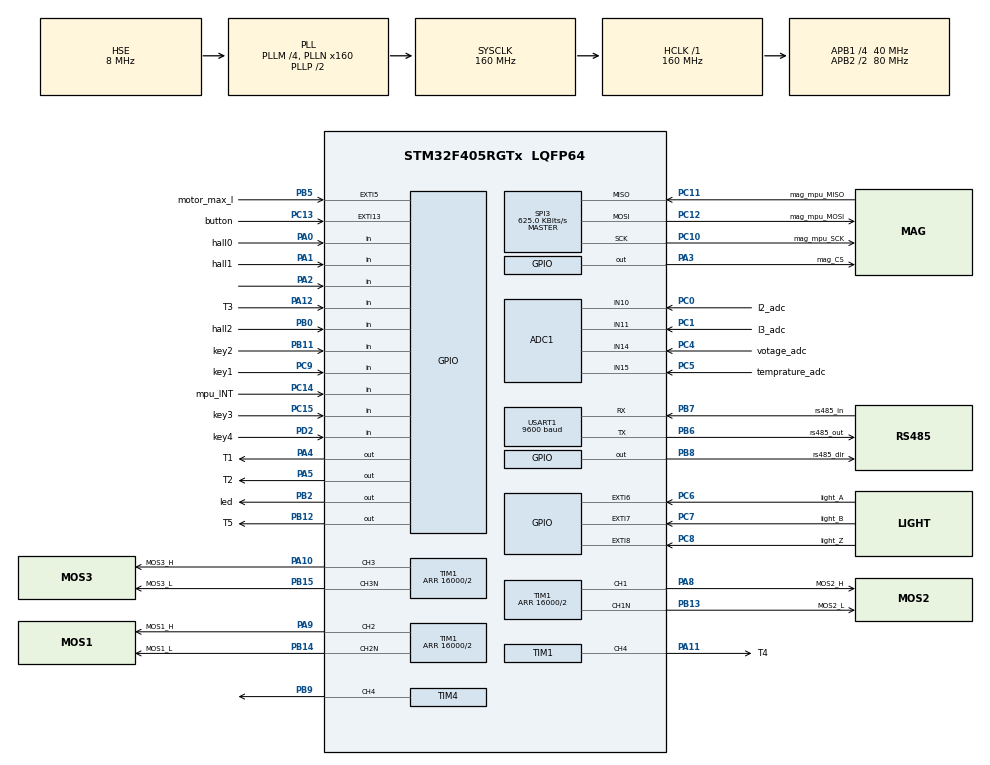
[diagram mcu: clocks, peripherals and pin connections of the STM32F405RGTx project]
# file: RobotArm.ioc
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ADC1.Channel-0\#ChannelRegularConversion=ADC_CHANNEL_14
ADC1.Channel-1\#ChannelRegularConversion=ADC_CHANNEL_15
ADC1.Channel-7\#ChannelInjectedConversion=ADC_CHANNEL_10
ADC1.Channel-8\#ChannelInjectedConversion=ADC_CHANNEL_11
ADC1.ClockPrescaler=ADC_CLOCK_SYNC_PCLK_DIV6
ADC1.ContinuousConvMode=ENABLE
ADC1.DMAContinuousRequests=ENABLE
ADC1.EOCSelection=ADC_EOC_SINGLE_CONV
ADC1.ExternalTrigConv=ADC_SOFTWARE_START
ADC1.ExternalTrigInjecConv=ADC_EXTERNALTRIGINJECCONV_T1_CC4
ADC1.ExternalTrigInjecConvEdge=ADC_EXTERNALTRIGINJECCONVEDGE_RISINGFALLING
ADC1.InjNumberOfConversion=2
ADC1.InjectedConvMode=Discontinuous
ADC1.InjectedOffset-7\#ChannelInjectedConversion=0
ADC1.InjectedOffset-8\#ChannelInjectedConversion=0
ADC1.InjectedRank-7\#ChannelInjectedConversion=1
ADC1.InjectedRank-8\#ChannelInjectedConversion=2
ADC1.NbrOfConversion=2
ADC1.NbrOfConversionFlag=1
ADC1.Rank-0\#ChannelRegularConversion=1
ADC1.Rank-1\#ChannelRegularConversion=2
ADC1.SamplingTime-0\#ChannelRegularConversion=ADC_SAMPLETIME_3CYCLES
ADC1.SamplingTime-1\#ChannelRegularConversion=ADC_SAMPLETIME_3CYCLES
ADC1.SamplingTime-7\#ChannelInjectedConversion=ADC_SAMPLETIME_15CYCLES
ADC1.SamplingTime-8\#ChannelInjectedConversion=ADC_SAMPLETIME_15CYCLES
ADC1.master=1
Dma.ADC1.2.Direction=DMA_PERIPH_TO_MEMORY
Dma.ADC1.2.FIFOMode=DMA_FIFOMODE_DISABLE
Dma.ADC1.2.Instance=DMA2_Stream0
Dma.ADC1.2.MemDataAlignment=DMA_MDATAALIGN_HALFWORD
Dma.ADC1.2.MemInc=DMA_MINC_ENABLE
Dma.ADC1.2.Mode=DMA_NORMAL
Dma.ADC1.2.PeriphDataAlignment=DMA_PDATAALIGN_HALFWORD
Dma.ADC1.2.PeriphInc=DMA_PINC_DISABLE
Dma.ADC1.2.Priority=DMA_PRIORITY_LOW
Dma.Request0=USART1_RX
Dma.Request1=USART1_TX
Dma.Request2=ADC1
Dma.USART1_RX.0.Direction=DMA_PERIPH_TO_MEMORY
Dma.USART1_RX.0.FIFOMode=DMA_FIFOMODE_ENABLE
Dma.USART1_RX.0.FIFOThreshold=DMA_FIFO_THRESHOLD_FULL
Dma.USART1_RX.0.Instance=DMA2_Stream2
Dma.USART1_RX.0.MemBurst=DMA_MBURST_SINGLE
Dma.USART1_RX.0.MemDataAlignment=DMA_MDATAALIGN_BYTE
Dma.USART1_RX.0.MemInc=DMA_MINC_ENABLE
Dma.USART1_RX.0.Mode=DMA_CIRCULAR
Dma.USART1_RX.0.PeriphBurst=DMA_PBURST_SINGLE
Dma.USART1_RX.0.PeriphDataAlignment=DMA_PDATAALIGN_BYTE
Dma.USART1_RX.0.PeriphInc=DMA_PINC_DISABLE
Dma.USART1_RX.0.Priority=DMA_PRIORITY_MEDIUM
Dma.USART1_TX.1.Direction=DMA_MEMORY_TO_PERIPH
Dma.USART1_TX.1.FIFOMode=DMA_FIFOMODE_DISABLE
Dma.USART1_TX.1.Instance=DMA2_Stream7
Dma.USART1_TX.1.MemDataAlignment=DMA_MDATAALIGN_BYTE
Dma.USART1_TX.1.MemInc=DMA_MINC_ENABLE
Dma.USART1_TX.1.Mode=DMA_NORMAL
Dma.USART1_TX.1.PeriphDataAlignment=DMA_PDATAALIGN_BYTE
Dma.USART1_TX.1.PeriphInc=DMA_PINC_DISABLE
Dma.USART1_TX.1.Priority=DMA_PRIORITY_LOW
Mcu.Family=STM32F4
Mcu.Name=STM32F405RGTx
Mcu.Package=LQFP64
NVIC.ADC_IRQn=true\:0\:0\:false\:false\:true\:true\:true\:true
NVIC.DMA2_Stream0_IRQn=true\:0\:0\:false\:false\:true\:false\:true\:true
NVIC.DMA2_Stream2_IRQn=true\:0\:0\:true\:false\:true\:false\:true\:true
NVIC.DMA2_Stream7_IRQn=true\:0\:0\:false\:false\:true\:false\:true\:true
NVIC.EXTI9_5_IRQn=true\:0\:0\:true\:false\:true\:true\:true\:true
NVIC.PriorityGroup=NVIC_PRIORITYGROUP_4
NVIC.USART1_IRQn=true\:15\:0\:true\:false\:true\:true\:true\:true
PA0-WKUP.GPIO_Label=hall0
PA0-WKUP.Signal=GPIO_Input
PA1.GPIO_Label=hall1
PA1.Signal=GPIO_Input
PA10.GPIO_Label=MOS3_H
PA10.GPIO_Speed=GPIO_SPEED_FREQ_HIGH
PA10.Signal=S_TIM1_CH3
PA11.GPIO_Label=T4
PA11.Signal=S_TIM1_CH4
PA12.GPIO_Label=T3
PA12.Signal=GPIO_Input
PA13.Mode=Serial_Wire
PA13.Signal=SYS_JTMS-SWDIO
PA14.Mode=Serial_Wire
PA14.Signal=SYS_JTCK-SWCLK
PA2.GPIO_Label=can_??????????
PA2.Signal=GPIO_Input
PA3.GPIO_Label=mag_CS
PA3.GPIO_Speed=GPIO_SPEED_FREQ_LOW
PA3.PinState=GPIO_PIN_RESET
PA3.Signal=GPIO_Output
PA4.GPIO_Label=T1
PA4.Signal=GPIO_Output
PA5.GPIO_Label=T2
PA5.Signal=GPIO_Output
PA8.GPIO_Label=MOS2_H
PA8.GPIO_Speed=GPIO_SPEED_FREQ_HIGH
PA8.Signal=S_TIM1_CH1
PA9.GPIO_Label=MOS1_H
PA9.GPIO_Speed=GPIO_SPEED_FREQ_HIGH
PA9.Signal=S_TIM1_CH2
PB0.GPIO_Label=hall2
PB0.Signal=GPIO_Input
PB11.GPIO_Label=key2
PB11.Signal=GPIO_Input
PB12.GPIO_Label=T5
PB12.Signal=GPIO_Output
PB13.GPIO_Label=MOS2_L
PB13.GPIO_Speed=GPIO_SPEED_FREQ_HIGH
PB13.Mode=PWM Generation1 CH1 CH1N
PB13.Signal=TIM1_CH1N
PB14.GPIO_Label=MOS1_L
PB14.GPIO_Speed=GPIO_SPEED_FREQ_HIGH
PB14.Mode=PWM Generation2 CH2 CH2N
PB14.Signal=TIM1_CH2N
PB15.GPIO_Label=MOS3_L
PB15.GPIO_Speed=GPIO_SPEED_FREQ_HIGH
PB15.Mode=PWM Generation3 CH3 CH3N
PB15.Signal=TIM1_CH3N
PB2.GPIO_Label=led
PB2.Signal=GPIO_Output
PB5.GPIO_Label=motor_max_I
PB5.Signal=GPXTI5
PB6.GPIO_Label=rs485_out
PB6.Mode=Asynchronous
PB6.Signal=USART1_TX
PB7.GPIO_Label=rs485_in
PB7.Mode=Asynchronous
PB7.Signal=USART1_RX
PB8.GPIO_Label=rs485_dir
PB8.Signal=GPIO_Output
PB9.Signal=S_TIM4_CH4
PC0.GPIO_Label=I2_adc
PC0.Signal=ADCx_IN10
PC1.GPIO_Label=I3_adc
PC1.Signal=ADCx_IN11
PC10.GPIO_Label=mag_mpu_SCK
PC10.Mode=Full_Duplex_Master
PC10.Signal=SPI3_SCK
PC11.GPIO_Label=mag_mpu_MISO
PC11.Mode=Full_Duplex_Master
PC11.Signal=SPI3_MISO
PC12.GPIO_Label=mag_mpu_MOSI
PC12.Mode=Full_Duplex_Master
PC12.Signal=SPI3_MOSI
PC13-ANTI_TAMP.GPIO_Label=button
PC13-ANTI_TAMP.GPIO_ModeDefaultEXTI=GPIO_MODE_IT_FALLING
PC13-ANTI_TAMP.Signal=GPXTI13
PC14-OSC32_IN.GPIO_Label=mpu_INT
PC14-OSC32_IN.Signal=GPIO_Input
PC15-OSC32_OUT.GPIO_Label=key3
PC15-OSC32_OUT.Signal=GPIO_Input
PC4.GPIO_Label=votage_adc
PC4.Signal=ADCx_IN14
PC5.GPIO_Label=temprature_adc
PC5.Signal=ADCx_IN15
PC6.GPIO_Label=light_A
PC6.GPIO_ModeDefaultEXTI=GPIO_MODE_IT_RISING
PC6.Signal=GPXTI6
PC7.GPIO_Label=light_B
PC7.GPIO_ModeDefaultEXTI=GPIO_MODE_IT_RISING
PC7.Signal=GPXTI7
PC8.GPIO_Label=light_Z
PC8.GPIO_ModeDefaultEXTI=GPIO_MODE_IT_RISING
PC8.Signal=GPXTI8
PC9.GPIO_Label=key1
PC9.Signal=GPIO_Input
PD2.GPIO_Label=key4
PD2.Signal=GPIO_Input
PH0-OSC_IN.Mode=HSE-External-Oscillator
PH0-OSC_IN.Signal=RCC_OSC_IN
PH1-OSC_OUT.Mode=HSE-External-Oscillator
PH1-OSC_OUT.Signal=RCC_OSC_OUT
ProjectManager.HeapSize=0x200
ProjectManager.StackSize=0x400
ProjectManager.TargetToolchain=MDK-ARM V5.32
RCC.48MHZClocksFreq_Value=80000000
RCC.AHBFreq_Value=160000000
RCC.APB1CLKDivider=RCC_HCLK_DIV4
RCC.APB1Freq_Value=40000000
RCC.APB1TimFreq_Value=80000000
RCC.APB2CLKDivider=RCC_HCLK_DIV2
RCC.APB2Freq_Value=80000000
RCC.APB2TimFreq_Value=160000000
RCC.CortexFreq_Value=160000000
RCC.HCLKFreq_Value=160000000
RCC.HSE_VALUE=8000000
RCC.HSI_VALUE=16000000
RCC.LSE_VALUE=32768
RCC.PLLM=4
RCC.PLLN=160
RCC.PLLSourceVirtual=RCC_PLLSOURCE_HSE
RCC.SYSCLKFreq_VALUE=160000000
RCC.SYSCLKSource=RCC_SYSCLKSOURCE_PLLCLK
RCC.VCOOutputFreq_Value=320000000
SH.ADCx_IN10.0=ADC1_IN10,IN10
SH.ADCx_IN11.0=ADC1_IN11,IN11
SH.ADCx_IN14.0=ADC1_IN14,IN14
SH.ADCx_IN15.0=ADC1_IN15,IN15
SH.S_TIM1_CH1.0=TIM1_CH1,PWM Generation1 CH1 CH1N
SH.S_TIM1_CH2.0=TIM1_CH2,PWM Generation2 CH2 CH2N
SH.S_TIM1_CH3.0=TIM1_CH3,PWM Generation3 CH3 CH3N
SH.S_TIM1_CH4.0=TIM1_CH4,PWM Generation4 CH4
SH.S_TIM4_CH4.0=TIM4_CH4,PWM Generation4 CH4
SPI3.BaudRatePrescaler=SPI_BAUDRATEPRESCALER_64
SPI3.CLKPhase=SPI_PHASE_2EDGE
SPI3.CLKPolarity=SPI_POLARITY_HIGH
SPI3.CalculateBaudRate=625.0 KBits/s
SPI3.Direction=SPI_DIRECTION_2LINES
SPI3.FirstBit=SPI_FIRSTBIT_MSB
SPI3.Mode=SPI_MODE_MASTER
SPI3.VirtualType=VM_MASTER
TIM1.AutoReloadPreload=TIM_AUTORELOAD_PRELOAD_ENABLE
TIM1.BreakState=TIM_BREAK_DISABLE
TIM1.Channel-PWM\ Generation1\ CH1\ CH1N=TIM_CHANNEL_1
TIM1.Channel-PWM\ Generation2\ CH2\ CH2N=TIM_CHANNEL_2
TIM1.Channel-PWM\ Generation3\ CH3\ CH3N=TIM_CHANNEL_3
TIM1.Channel-PWM\ Generation4\ CH4=TIM_CHANNEL_4
TIM1.CounterMode=TIM_COUNTERMODE_CENTERALIGNED1
TIM1.DeadTime=50
TIM1.OCFastMode_PWM-PWM\ Generation1\ CH1\ CH1N=TIM_OCFAST_ENABLE
TIM1.OCFastMode_PWM-PWM\ Generation2\ CH2\ CH2N=TIM_OCFAST_ENABLE
TIM1.OCFastMode_PWM-PWM\ Generation3\ CH3\ CH3N=TIM_OCFAST_ENABLE
TIM1.OCFastMode_PWM-PWM\ Generation4\ CH4=TIM_OCFAST_ENABLE
TIM1.OCIdleState_1=TIM_OCIDLESTATE_SET
TIM1.OCIdleState_2=TIM_OCIDLESTATE_SET
TIM1.OCIdleState_3=TIM_OCIDLESTATE_SET
TIM1.OCMode_PWM-PWM\ Generation1\ CH1\ CH1N=TIM_OCMODE_PWM2
TIM1.OCMode_PWM-PWM\ Generation2\ CH2\ CH2N=TIM_OCMODE_PWM2
TIM1.OCMode_PWM-PWM\ Generation3\ CH3\ CH3N=TIM_OCMODE_PWM2
TIM1.OCMode_PWM-PWM\ Generation4\ CH4=TIM_OCMODE_PWM2
TIM1.OCNIdleState_1=TIM_OCNIDLESTATE_SET
TIM1.OCNIdleState_2=TIM_OCNIDLESTATE_SET
TIM1.OCNIdleState_3=TIM_OCNIDLESTATE_SET
TIM1.OCNPolarity_1=TIM_OCNPOLARITY_HIGH
TIM1.OCNPolarity_2=TIM_OCNPOLARITY_HIGH
TIM1.OCNPolarity_3=TIM_OCNPOLARITY_HIGH
TIM1.Period=16000/2
TIM1.RepetitionCounter=0
TIM1.TIM_MasterOutputTrigger=TIM_TRGO_RESET
TIM1.TIM_MasterSlaveMode=TIM_MASTERSLAVEMODE_DISABLE
TIM4.AutoReloadPreload=TIM_AUTORELOAD_PRELOAD_ENABLE
TIM4.Channel-PWM\ Generation4\ CH4=TIM_CHANNEL_4
TIM4.Period=1024
TIM4.Prescaler=0
USART1.BaudRate=9600
USART1.OverSampling=UART_OVERSAMPLING_8
USART1.VirtualMode=VM_ASYNC
VP_TIM1_VS_ClockSourceINT.Mode=Internal
VP_TIM4_VS_ClockSourceINT.Mode=Internal
board=custom

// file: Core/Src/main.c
/* USER CODE BEGIN Header */
/**
  ******************************************************************************
  * @file           : main.c
  * @brief          : Main program body
  ******************************************************************************
  * @attention
  *
  * Copyright (c) 2024 STMicroelectronics.
  * All rights reserved.
  *
  * This software is licensed under terms that can be found in the LICENSE file
  * in the root directory of this software component.
  * If no LICENSE file comes with this software, it is provided AS-IS.
  *
  ******************************************************************************
  */
/* USER CODE END Header */
#include "main.h"

/* USER CODE BEGIN Includes */
#include "stdio.h"
#include "header.h"
#include <math.h>
#include "user.h"

/* USER CODE END Includes */

ADC_HandleTypeDef hadc1;
DMA_HandleTypeDef hdma_adc1;

SPI_HandleTypeDef hspi3;

TIM_HandleTypeDef htim1;
TIM_HandleTypeDef htim4;

UART_HandleTypeDef huart1;
DMA_HandleTypeDef hdma_usart1_rx;
DMA_HandleTypeDef hdma_usart1_tx;

void SystemClock_Config(void);
static void MX_GPIO_Init(void);
static void MX_DMA_Init(void);
static void MX_ADC1_Init(void);
static void MX_SPI3_Init(void);
static void MX_TIM1_Init(void);
static void MX_USART1_UART_Init(void);
static void MX_TIM4_Init(void);
/* USER CODE BEGIN PFP */

extern i32 light_tick, light_Z;
extern float setV;
extern float setP;

/* USER CODE END PFP */

/* USER CODE BEGIN 0 */
#define APP_ADDRESS 0x08020000

u16 adcDatas[2];
int loop_type = 0;

/* USER CODE END 0 */

int main(void)
{
  /* USER CODE BEGIN 1 */
  __set_PRIMASK(0);

  SCB->VTOR = APP_ADDRESS;
  /* USER CODE END 1 */

  /* MCU Configuration--------------------------------------------------------*/

  /* Reset of all peripherals, Initializes the Flash interface and the Systick. */
  HAL_Init();

  /* Configure the system clock */
  SystemClock_Config();

  /* USER CODE BEGIN SysInit */
  //HAL_SPI_MspInit(&hspi3);
  /* USER CODE END SysInit */

  /* Initialize all configured peripherals */
  MX_GPIO_Init();
  MX_DMA_Init();
  MX_ADC1_Init();
  MX_SPI3_Init();
  MX_TIM1_Init();
  MX_USART1_UART_Init();
  MX_TIM4_Init();
  /* USER CODE BEGIN 2 */

  User_Init();
  uprintf("Robot Arm 0 start...\n");

  InitControl();

  /* USER CODE END 2 */

  /* Infinite loop */
  /* USER CODE BEGIN WHILE */

  getID();

  printf("ID:%d\n", getID());

  u32 motorIndex = 0;
  u32 v1 = 0, v2=0,v3=0;
  u32 curArea  =0;

  loop_type = 0;
  HAL_Delay(1000);
  loop_type = 1;

  float avg_angle = 0;
  while (1)
  {
    float adcInputV = 0, adcMosTemperature = 0, adcI2 = 0, adcI3 = 0;

    adcInputV = adcDatas[0];
    adcMosTemperature = adcDatas[1];

    if(Serial_Available())
    {
      Serial_Receive();

      ProcessCommand();
      //usend((uint8_t *)&recvData, sizeof(recvData));
        //setP = Serial_ParseFloat();
        //uprintf("%d\t%d\t%.3f\t%.3f\t%.3f\n", recvData.id, recvData.type, recvData.I, recvData.V, recvData.P);
        //v2 = Serial_ParseFloat();
        //v3 = Serial_ParseFloat();
        //printf("%d\t%d\t%d\t\n",v1,v2,v3);
        //uprintf("%d\t\n",curArea);
    }

    //uprintf("%d\t%d\t%d\t%d\n",v1,v2,v3,curArea);
    //uprintf("%f\t%f\t%f\t%d\n",t0,t1,t2,curArea);

    HAL_Delay(50);

    /* USER CODE END WHILE */

  }
}

void SystemClock_Config(void)
{
  RCC_OscInitTypeDef RCC_OscInitStruct = {0};
  RCC_ClkInitTypeDef RCC_ClkInitStruct = {0};

  /** Configure the main internal regulator output voltage
  */
  __HAL_RCC_PWR_CLK_ENABLE();
  __HAL_PWR_VOLTAGESCALING_CONFIG(PWR_REGULATOR_VOLTAGE_SCALE1);

  /** Initializes the RCC Oscillators according to the specified parameters
  * in the RCC_OscInitTypeDef structure.
  */
  RCC_OscInitStruct.OscillatorType = RCC_OSCILLATORTYPE_HSE;
  RCC_OscInitStruct.HSEState = RCC_HSE_ON;
  RCC_OscInitStruct.PLL.PLLState = RCC_PLL_ON;
  RCC_OscInitStruct.PLL.PLLSource = RCC_PLLSOURCE_HSE;
  RCC_OscInitStruct.PLL.PLLM = 4;
  RCC_OscInitStruct.PLL.PLLN = 160;
  RCC_OscInitStruct.PLL.PLLP = RCC_PLLP_DIV2;
  RCC_OscInitStruct.PLL.PLLQ = 4;
  if (HAL_RCC_OscConfig(&RCC_OscInitStruct) != HAL_OK)
  {
    Error_Handler();
  }

  /** Initializes the CPU, AHB and APB buses clocks
  */
  RCC_ClkInitStruct.ClockType = RCC_CLOCKTYPE_HCLK|RCC_CLOCKTYPE_SYSCLK
                              |RCC_CLOCKTYPE_PCLK1|RCC_CLOCKTYPE_PCLK2;
  RCC_ClkInitStruct.SYSCLKSource = RCC_SYSCLKSOURCE_PLLCLK;
  RCC_ClkInitStruct.AHBCLKDivider = RCC_SYSCLK_DIV1;
  RCC_ClkInitStruct.APB1CLKDivider = RCC_HCLK_DIV4;
  RCC_ClkInitStruct.APB2CLKDivider = RCC_HCLK_DIV2;

  if (HAL_RCC_ClockConfig(&RCC_ClkInitStruct, FLASH_LATENCY_5) != HAL_OK)
  {
    Error_Handler();
  }
}

static void MX_ADC1_Init(void)
{

  ADC_ChannelConfTypeDef sConfig = {0};
  ADC_InjectionConfTypeDef sConfigInjected = {0};

  /** Configure the global features of the ADC (Clock, Resolution, Data Alignment and number of conversion)
  */
  hadc1.Instance = ADC1;
  hadc1.Init.ClockPrescaler = ADC_CLOCK_SYNC_PCLK_DIV6;
  hadc1.Init.Resolution = ADC_RESOLUTION_12B;
  hadc1.Init.ScanConvMode = ENABLE;
  hadc1.Init.ContinuousConvMode = ENABLE;
  hadc1.Init.DiscontinuousConvMode = DISABLE;
  hadc1.Init.ExternalTrigConvEdge = ADC_EXTERNALTRIGCONVEDGE_NONE;
  hadc1.Init.ExternalTrigConv = ADC_SOFTWARE_START;
  hadc1.Init.DataAlign = ADC_DATAALIGN_RIGHT;
  hadc1.Init.NbrOfConversion = 2;
  hadc1.Init.DMAContinuousRequests = ENABLE;
  hadc1.Init.EOCSelection = ADC_EOC_SINGLE_CONV;
  if (HAL_ADC_Init(&hadc1) != HAL_OK)
  {
    Error_Handler();
  }

  /** Configure for the selected ADC regular channel its corresponding rank in the sequencer and its sample time.
  */
  sConfig.Channel = ADC_CHANNEL_14;
  sConfig.Rank = 1;
  sConfig.SamplingTime = ADC_SAMPLETIME_3CYCLES;
  if (HAL_ADC_ConfigChannel(&hadc1, &sConfig) != HAL_OK)
  {
    Error_Handler();
  }

  /** Configure for the selected ADC regular channel its corresponding rank in the sequencer and its sample time.
  */
  sConfig.Channel = ADC_CHANNEL_15;
  sConfig.Rank = 2;
  if (HAL_ADC_ConfigChannel(&hadc1, &sConfig) != HAL_OK)
  {
    Error_Handler();
  }

  /** Configures for the selected ADC injected channel its corresponding rank in the sequencer and its sample time
  */
  sConfigInjected.InjectedChannel = ADC_CHANNEL_10;
  sConfigInjected.InjectedRank = 1;
  sConfigInjected.InjectedNbrOfConversion = 2;
  sConfigInjected.InjectedSamplingTime = ADC_SAMPLETIME_15CYCLES;
  sConfigInjected.ExternalTrigInjecConvEdge = ADC_EXTERNALTRIGINJECCONVEDGE_RISINGFALLING;
  sConfigInjected.ExternalTrigInjecConv = ADC_EXTERNALTRIGINJECCONV_T1_CC4;
  sConfigInjected.AutoInjectedConv = DISABLE;
  sConfigInjected.InjectedDiscontinuousConvMode = ENABLE;
  sConfigInjected.InjectedOffset = 0;
  if (HAL_ADCEx_InjectedConfigChannel(&hadc1, &sConfigInjected) != HAL_OK)
  {
    Error_Handler();
  }

  /** Configures for the selected ADC injected channel its corresponding rank in the sequencer and its sample time
  */
  sConfigInjected.InjectedChannel = ADC_CHANNEL_11;
  sConfigInjected.InjectedRank = 2;
  if (HAL_ADCEx_InjectedConfigChannel(&hadc1, &sConfigInjected) != HAL_OK)
  {
    Error_Handler();
  }

}

static void MX_SPI3_Init(void)
{

  /* SPI3 parameter configuration*/
  hspi3.Instance = SPI3;
  hspi3.Init.Mode = SPI_MODE_MASTER;
  hspi3.Init.Direction = SPI_DIRECTION_2LINES;
  hspi3.Init.DataSize = SPI_DATASIZE_8BIT;
  hspi3.Init.CLKPolarity = SPI_POLARITY_HIGH;
  hspi3.Init.CLKPhase = SPI_PHASE_2EDGE;
  hspi3.Init.NSS = SPI_NSS_SOFT;
  hspi3.Init.BaudRatePrescaler = SPI_BAUDRATEPRESCALER_64;
  hspi3.Init.FirstBit = SPI_FIRSTBIT_MSB;
  hspi3.Init.TIMode = SPI_TIMODE_DISABLE;
  hspi3.Init.CRCCalculation = SPI_CRCCALCULATION_DISABLE;
  hspi3.Init.CRCPolynomial = 10;
  if (HAL_SPI_Init(&hspi3) != HAL_OK)
  {
    Error_Handler();
  }

}

static void MX_TIM1_Init(void)
{

  TIM_ClockConfigTypeDef sClockSourceConfig = {0};
  TIM_MasterConfigTypeDef sMasterConfig = {0};
  TIM_OC_InitTypeDef sConfigOC = {0};
  TIM_BreakDeadTimeConfigTypeDef sBreakDeadTimeConfig = {0};

  htim1.Instance = TIM1;
  htim1.Init.Prescaler = 0;
  htim1.Init.CounterMode = TIM_COUNTERMODE_CENTERALIGNED1;
  htim1.Init.Period = 16000/2;
  htim1.Init.ClockDivision = TIM_CLOCKDIVISION_DIV1;
  htim1.Init.RepetitionCounter = 0;
  htim1.Init.AutoReloadPreload = TIM_AUTORELOAD_PRELOAD_ENABLE;
  if (HAL_TIM_Base_Init(&htim1) != HAL_OK)
  {
    Error_Handler();
  }
  sClockSourceConfig.ClockSource = TIM_CLOCKSOURCE_INTERNAL;
  if (HAL_TIM_ConfigClockSource(&htim1, &sClockSourceConfig) != HAL_OK)
  {
    Error_Handler();
  }
  if (HAL_TIM_PWM_Init(&htim1) != HAL_OK)
  {
    Error_Handler();
  }
  sMasterConfig.MasterOutputTrigger = TIM_TRGO_RESET;
  sMasterConfig.MasterSlaveMode = TIM_MASTERSLAVEMODE_DISABLE;
  if (HAL_TIMEx_MasterConfigSynchronization(&htim1, &sMasterConfig) != HAL_OK)
  {
    Error_Handler();
  }
  sConfigOC.OCMode = TIM_OCMODE_PWM2;
  sConfigOC.Pulse = 0;
  sConfigOC.OCPolarity = TIM_OCPOLARITY_HIGH;
  sConfigOC.OCNPolarity = TIM_OCNPOLARITY_HIGH;
  sConfigOC.OCFastMode = TIM_OCFAST_ENABLE;
  sConfigOC.OCIdleState = TIM_OCIDLESTATE_SET;
  sConfigOC.OCNIdleState = TIM_OCNIDLESTATE_SET;
  if (HAL_TIM_PWM_ConfigChannel(&htim1, &sConfigOC, TIM_CHANNEL_1) != HAL_OK)
  {
    Error_Handler();
  }
  if (HAL_TIM_PWM_ConfigChannel(&htim1, &sConfigOC, TIM_CHANNEL_2) != HAL_OK)
  {
    Error_Handler();
  }
  if (HAL_TIM_PWM_ConfigChannel(&htim1, &sConfigOC, TIM_CHANNEL_3) != HAL_OK)
  {
    Error_Handler();
  }
  sConfigOC.OCIdleState = TIM_OCIDLESTATE_RESET;
  sConfigOC.OCNIdleState = TIM_OCNIDLESTATE_RESET;
  if (HAL_TIM_PWM_ConfigChannel(&htim1, &sConfigOC, TIM_CHANNEL_4) != HAL_OK)
  {
    Error_Handler();
  }
  sBreakDeadTimeConfig.OffStateRunMode = TIM_OSSR_DISABLE;
  sBreakDeadTimeConfig.OffStateIDLEMode = TIM_OSSI_DISABLE;
  sBreakDeadTimeConfig.LockLevel = TIM_LOCKLEVEL_OFF;
  sBreakDeadTimeConfig.DeadTime = 50;
  sBreakDeadTimeConfig.BreakState = TIM_BREAK_DISABLE;
  sBreakDeadTimeConfig.BreakPolarity = TIM_BREAKPOLARITY_HIGH;
  sBreakDeadTimeConfig.AutomaticOutput = TIM_AUTOMATICOUTPUT_DISABLE;
  if (HAL_TIMEx_ConfigBreakDeadTime(&htim1, &sBreakDeadTimeConfig) != HAL_OK)
  {
    Error_Handler();
  }
  HAL_TIM_MspPostInit(&htim1);

}

static void MX_TIM4_Init(void)
{

  TIM_ClockConfigTypeDef sClockSourceConfig = {0};
  TIM_MasterConfigTypeDef sMasterConfig = {0};
  TIM_OC_InitTypeDef sConfigOC = {0};

  htim4.Instance = TIM4;
  htim4.Init.Prescaler = 0;
  htim4.Init.CounterMode = TIM_COUNTERMODE_UP;
  htim4.Init.Period = 1024;
  htim4.Init.ClockDivision = TIM_CLOCKDIVISION_DIV1;
  htim4.Init.AutoReloadPreload = TIM_AUTORELOAD_PRELOAD_ENABLE;
  if (HAL_TIM_Base_Init(&htim4) != HAL_OK)
  {
    Error_Handler();
  }
  sClockSourceConfig.ClockSource = TIM_CLOCKSOURCE_INTERNAL;
  if (HAL_TIM_ConfigClockSource(&htim4, &sClockSourceConfig) != HAL_OK)
  {
    Error_Handler();
  }
  if (HAL_TIM_PWM_Init(&htim4) != HAL_OK)
  {
    Error_Handler();
  }
  sMasterConfig.MasterOutputTrigger = TIM_TRGO_RESET;
  sMasterConfig.MasterSlaveMode = TIM_MASTERSLAVEMODE_DISABLE;
  if (HAL_TIMEx_MasterConfigSynchronization(&htim4, &sMasterConfig) != HAL_OK)
  {
    Error_Handler();
  }
  sConfigOC.OCMode = TIM_OCMODE_PWM1;
  sConfigOC.Pulse = 0;
  sConfigOC.OCPolarity = TIM_OCPOLARITY_HIGH;
  sConfigOC.OCFastMode = TIM_OCFAST_DISABLE;
  if (HAL_TIM_PWM_ConfigChannel(&htim4, &sConfigOC, TIM_CHANNEL_4) != HAL_OK)
  {
    Error_Handler();
  }
  HAL_TIM_MspPostInit(&htim4);

}

static void MX_USART1_UART_Init(void)
{

  huart1.Instance = USART1;
  huart1.Init.BaudRate = 9600;
  huart1.Init.WordLength = UART_WORDLENGTH_8B;
  huart1.Init.StopBits = UART_STOPBITS_1;
  huart1.Init.Parity = UART_PARITY_NONE;
  huart1.Init.Mode = UART_MODE_TX_RX;
  huart1.Init.HwFlowCtl = UART_HWCONTROL_NONE;
  huart1.Init.OverSampling = UART_OVERSAMPLING_8;
  if (HAL_UART_Init(&huart1) != HAL_OK)
  {
    Error_Handler();
  }

}

static void MX_DMA_Init(void)
{

  /* DMA controller clock enable */
  __HAL_RCC_DMA2_CLK_ENABLE();

  /* DMA interrupt init */
  /* DMA2_Stream0_IRQn interrupt configuration */
  HAL_NVIC_SetPriority(DMA2_Stream0_IRQn, 0, 0);
  HAL_NVIC_EnableIRQ(DMA2_Stream0_IRQn);
  /* DMA2_Stream2_IRQn interrupt configuration */
  HAL_NVIC_SetPriority(DMA2_Stream2_IRQn, 0, 0);
  HAL_NVIC_EnableIRQ(DMA2_Stream2_IRQn);
  /* DMA2_Stream7_IRQn interrupt configuration */
  HAL_NVIC_SetPriority(DMA2_Stream7_IRQn, 0, 0);
  HAL_NVIC_EnableIRQ(DMA2_Stream7_IRQn);

}

static void MX_GPIO_Init(void)
{
  GPIO_InitTypeDef GPIO_InitStruct = {0};

  /* GPIO Ports Clock Enable */
  __HAL_RCC_GPIOC_CLK_ENABLE();
  __HAL_RCC_GPIOH_CLK_ENABLE();
  __HAL_RCC_GPIOA_CLK_ENABLE();
  __HAL_RCC_GPIOB_CLK_ENABLE();
  __HAL_RCC_GPIOD_CLK_ENABLE();

  /*Configure GPIO pin Output Level */
  HAL_GPIO_WritePin(GPIOA, mag_CS_Pin|T1_Pin|T2_Pin, GPIO_PIN_RESET);

  /*Configure GPIO pin Output Level */
  HAL_GPIO_WritePin(GPIOB, led_Pin|T5_Pin|rs485_dir_Pin, GPIO_PIN_RESET);

  /*Configure GPIO pin : button_Pin */
  GPIO_InitStruct.Pin = button_Pin;
  GPIO_InitStruct.Mode = GPIO_MODE_IT_FALLING;
  GPIO_InitStruct.Pull = GPIO_NOPULL;
  HAL_GPIO_Init(button_GPIO_Port, &GPIO_InitStruct);

  /*Configure GPIO pins : mpu_INT_Pin key3_Pin key1_Pin */
  GPIO_InitStruct.Pin = mpu_INT_Pin|key3_Pin|key1_Pin;
  GPIO_InitStruct.Mode = GPIO_MODE_INPUT;
  GPIO_InitStruct.Pull = GPIO_NOPULL;
  HAL_GPIO_Init(GPIOC, &GPIO_InitStruct);

  /*Configure GPIO pins : PC2 PC3 */
  GPIO_InitStruct.Pin = GPIO_PIN_2|GPIO_PIN_3;
  GPIO_InitStruct.Mode = GPIO_MODE_ANALOG;
  GPIO_InitStruct.Pull = GPIO_NOPULL;
  HAL_GPIO_Init(GPIOC, &GPIO_InitStruct);

  /*Configure GPIO pins : hall0_Pin hall1_Pin can____________Pin T3_Pin */
  GPIO_InitStruct.Pin = hall0_Pin|hall1_Pin|can____________Pin|T3_Pin;
  GPIO_InitStruct.Mode = GPIO_MODE_INPUT;
  GPIO_InitStruct.Pull = GPIO_NOPULL;
  HAL_GPIO_Init(GPIOA, &GPIO_InitStruct);

  /*Configure GPIO pins : mag_CS_Pin T1_Pin T2_Pin */
  GPIO_InitStruct.Pin = mag_CS_Pin|T1_Pin|T2_Pin;
  GPIO_InitStruct.Mode = GPIO_MODE_OUTPUT_PP;
  GPIO_InitStruct.Pull = GPIO_NOPULL;
  GPIO_InitStruct.Speed = GPIO_SPEED_FREQ_LOW;
  HAL_GPIO_Init(GPIOA, &GPIO_InitStruct);

  /*Configure GPIO pins : PA6 PA7 PA15 */
  GPIO_InitStruct.Pin = GPIO_PIN_6|GPIO_PIN_7|GPIO_PIN_15;
  GPIO_InitStruct.Mode = GPIO_MODE_ANALOG;
  GPIO_InitStruct.Pull = GPIO_NOPULL;
  HAL_GPIO_Init(GPIOA, &GPIO_InitStruct);

  /*Configure GPIO pins : hall2_Pin key2_Pin */
  GPIO_InitStruct.Pin = hall2_Pin|key2_Pin;
  GPIO_InitStruct.Mode = GPIO_MODE_INPUT;
  GPIO_InitStruct.Pull = GPIO_NOPULL;
  HAL_GPIO_Init(GPIOB, &GPIO_InitStruct);

  /*Configure GPIO pins : PB1 PB10 PB3 PB4 */
  GPIO_InitStruct.Pin = GPIO_PIN_1|GPIO_PIN_10|GPIO_PIN_3|GPIO_PIN_4;
  GPIO_InitStruct.Mode = GPIO_MODE_ANALOG;
  GPIO_InitStruct.Pull = GPIO_NOPULL;
  HAL_GPIO_Init(GPIOB, &GPIO_InitStruct);

  /*Configure GPIO pins : led_Pin T5_Pin rs485_dir_Pin */
  GPIO_InitStruct.Pin = led_Pin|T5_Pin|rs485_dir_Pin;
  GPIO_InitStruct.Mode = GPIO_MODE_OUTPUT_PP;
  GPIO_InitStruct.Pull = GPIO_NOPULL;
  GPIO_InitStruct.Speed = GPIO_SPEED_FREQ_LOW;
  HAL_GPIO_Init(GPIOB, &GPIO_InitStruct);

  /*Configure GPIO pins : light_A_Pin light_B_Pin light_Z_Pin */
  GPIO_InitStruct.Pin = light_A_Pin|light_B_Pin|light_Z_Pin;
  GPIO_InitStruct.Mode = GPIO_MODE_IT_RISING;
  GPIO_InitStruct.Pull = GPIO_NOPULL;
  HAL_GPIO_Init(GPIOC, &GPIO_InitStruct);

  /*Configure GPIO pin : key4_Pin */
  GPIO_InitStruct.Pin = key4_Pin;
  GPIO_InitStruct.Mode = GPIO_MODE_INPUT;
  GPIO_InitStruct.Pull = GPIO_NOPULL;
  HAL_GPIO_Init(key4_GPIO_Port, &GPIO_InitStruct);

  /*Configure GPIO pin : motor_max_I_Pin */
  GPIO_InitStruct.Pin = motor_max_I_Pin;
  GPIO_InitStruct.Mode = GPIO_MODE_IT_RISING;
  GPIO_InitStruct.Pull = GPIO_NOPULL;
  HAL_GPIO_Init(motor_max_I_GPIO_Port, &GPIO_InitStruct);

  /* EXTI interrupt init*/
  HAL_NVIC_SetPriority(EXTI9_5_IRQn, 0, 0);
  HAL_NVIC_EnableIRQ(EXTI9_5_IRQn);

}

void Error_Handler(void)
{
  __disable_irq();
  while (1)
  {
  }
}
